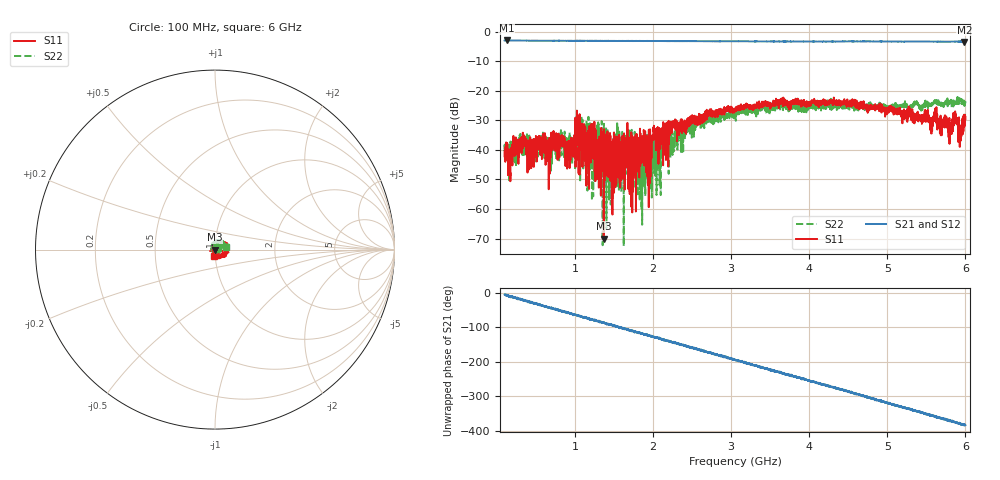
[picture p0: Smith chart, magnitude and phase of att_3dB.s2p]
#  HZ  S  DB  R  50.0
! Rohde & Schwarz ZVL6 2Ports - Version 3.32 - 1303.6509k06 SN: 102097
! Date: 2024-06-28 18:15:12
! Data & Calibration Information:
! Trc1:S11(TOSM) Trc3:S21(TOSM) Trc2:S12(TOSM) Trc4:S22(TOSM)
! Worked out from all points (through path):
!   4001 points, 100 MHz to 6 GHz, reference 50 ohm
!   highest |S21| = -3.02 dB at 128 MHz (marker M1); lowest = -3.5 dB at 5.987 GHz (marker M2)
!   group delay of S21, straight-line fit = 177 ps
!   lowest |S11| = -70.0 dB at 1.37 GHz (marker M3), VSWR 1.00, Z = 50 - j0.0201 ohm
!   |S11| at or under -10 dB: start of sweep to end of sweep
!   |S22| runs from -72.5 to -22.2 dB; largest |S21 - S12| = 0.064
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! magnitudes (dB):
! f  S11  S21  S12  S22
! 100 MHz  -42.2  -3.1  -3.0  -38.3
! 128 MHz  -39.2  -3.0  -3.0  -37.1
! 722.5 MHz  -36.0  -3.1  -3.1  -37.6
! 906.8 MHz  -37.1  -3.2  -3.1  -36.4
! 1.084 GHz  -32.4  -3.2  -3.2  -40.1
! 1.37 GHz  -70.0  -3.2  -3.2  -43.9
! 1.464 GHz  -42.7  -3.2  -3.2  -45.1
! 1.644 GHz  -45.8  -3.2  -3.1  -38.0
! 1.721 GHz  -34.1  -3.2  -3.2  -43.6
! 1.838 GHz  -44.2  -3.2  -3.2  -42.3
! 1.939 GHz  -43.8  -3.2  -3.2  -43.3
! 2.004 GHz  -33.0  -3.2  -3.2  -42.4
! 2.068 GHz  -35.6  -3.2  -3.2  -40.1
! 2.447 GHz  -30.9  -3.3  -3.3  -32.3
! 3.05 GHz  -26.1  -3.3  -3.3  -28.3
! 4.034 GHz  -23.5  -3.4  -3.4  -25.3
! 5.018 GHz  -25.5  -3.4  -3.3  -25.7
! 5.796 GHz  -38.0  -3.4  -3.4  -24.1
! 5.872 GHz  -29.4  -3.4  -3.4  -23.8
! 5.935 GHz  -36.5  -3.5  -3.4  -23.0
! 5.987 GHz  -28.8  -3.5  -3.4  -23.5
! 6 GHz  -28.9  -3.5  -3.4  -24.0
